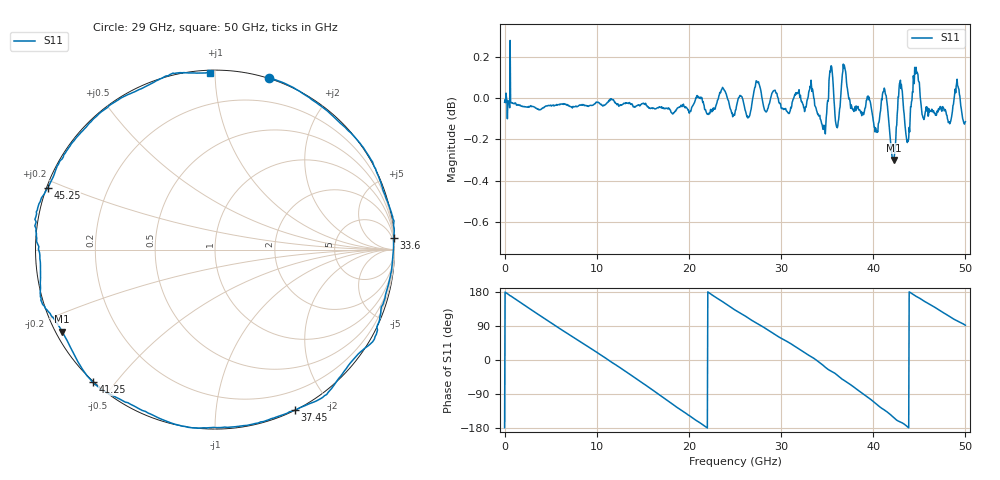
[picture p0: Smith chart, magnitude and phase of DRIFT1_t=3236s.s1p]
!Created with skrf (http://scikit-rf.org).
# Hz S RI R 50.0
!freq ReS11 ImS11
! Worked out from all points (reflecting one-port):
!   1001 points, 300 kHz to 50 GHz, reference 50 ohm
!   lowest |S11| = -0.3 dB at 42.2 GHz (marker M1), VSWR 57.88, Z = 0.919 - j12.6 ohm
!   phase of S11 starts at -178 deg and turns -810 deg over the sweep
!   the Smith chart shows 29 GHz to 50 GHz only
!   S11 on the Smith chart (normalised r, x): 29 GHz: -0.00, +1.36; 33.6 GHz: 0, +31; 37.45 GHz: 0.00, -1.61; 41.25 GHz: -0.00, -0.44; 45.25 GHz: 0.00, +0.18; 50 GHz: 0.01, +0.97
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300000  -0.9974 -0.0264
1.60029e9  -0.893 0.4417
3.40028e9  -0.5602 0.8217
6.250262e9  0.194 0.9777
9.550243e9  0.8879 0.4516
1.110023e10  0.9962 0.0461
1.250022e10  0.9369 -0.338
1.580021e10  0.2606 -0.9595
1.73002e10  -0.1804 -0.9777
1.875019e10  -0.5799 -0.808
2.050018e10  -0.902 -0.4239
2.175017e10  -0.9898 -0.0863
2.345016e10  -0.924 0.3908
2.500015e10  -0.6627 0.7383
2.720014e10  -0.1642 0.9929
2.900013e10  0.2985 0.9573
3.125011e10  0.7649 0.6416
3.36001e10  0.9976 0.0642
3.550009e10  0.8785 -0.5133
3.745008e10  0.4451 -0.8947
3.750008e10  0.4294 -0.9001
3.945006e10  -0.1514 -0.9898
4.125005e10  -0.6815 -0.7384
4.220005e10  -0.8508 -0.4576
4.375004e10  -0.9757 -0.0502
4.525003e10  -0.9318 0.3452
4.770001e10  -0.5493 0.8272
5e10  -0.03 0.9865
